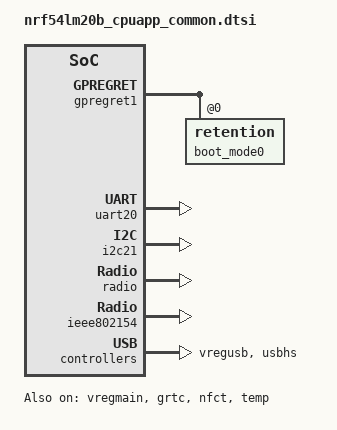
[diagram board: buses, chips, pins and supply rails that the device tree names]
/*
 * Copyright (c) 2026 Nordic Semiconductor ASA
 *
 * SPDX-License-Identifier: LicenseRef-Nordic-5-Clause
 */

/* This file is common to the secure and non-secure domain */

#include <nordic/nrf54lm20b_cpuapp.dtsi>
#include "nrf54lm20dongle_nrf54lm20b-common.dtsi"

/ {
	chosen {
		zephyr,flash-controller = &rram_controller;
		zephyr,flash = &cpuapp_rram;
		zephyr,ieee802154 = &ieee802154;
		zephyr,boot-mode = &boot_mode0;
		zephyr,console = &board_cdc_acm_uart;
		zephyr,shell-uart = &board_cdc_acm_uart;
		zephyr,uart-mcumgr = &mcumgr_cdc_acm_uart;
		zephyr,bt-mon-uart = &board_cdc_acm_uart;
		zephyr,bt-c2h-uart = &board_cdc_acm_uart;
	};

	aliases {
		mcuboot-button0 = &dfu_button;
		mcuboot-led0 = &led0_green;
	};
};

&cpuapp_sram {
	status = "okay";
};

&hfpll {
	clock-frequency = <DT_FREQ_M(128)>;
};

&lfxo {
	load-capacitors = "internal";
	load-capacitance-femtofarad = <17000>;
};

&hfxo {
	load-capacitors = "internal";
	load-capacitance-femtofarad = <15000>;
};

&vregmain {
	status = "okay";
	regulator-initial-mode = <NRF5X_REG_MODE_DCDC>;
};

&gpregret1 {
	status = "okay";

	boot_mode0: boot_mode@0 {
		compatible = "zephyr,retention";
		status = "okay";
		reg = <0x0 0x1>;
	};
};

&grtc {
	owned-channels = <0 1 2 3 4 5 6 7 8 9 10 11>;
	/* Channels 7-11 reserved for Zero Latency IRQs, 3-4 for FLPR */
	child-owned-channels = <3 4 7 8 9 10 11>;
	status = "okay";
};

&uart20 {
	status = "okay";
};

&i2c21 {
	status = "okay";
};

&nfct {
	status = "okay";
};

&gpio0 {
	status = "okay";
};

&gpio1 {
	status = "okay";
};

&gpio2 {
	status = "okay";
};

&gpiote20 {
	status = "okay";
};

&gpiote30 {
	status = "okay";
};

&radio {
	status = "okay";
};

&temp {
	status = "okay";
};

&clock {
	status = "okay";
};

&ieee802154 {
	status = "okay";
};

&vregusb {
	status = "okay";
};

zephyr_udc0: &usbhs {
	status = "okay";

	board_cdc_acm_uart: board_cdc_acm_uart {
		compatible = "zephyr,cdc-acm-uart";
	};

	mcumgr_cdc_acm_uart: mcumgr_cdc_acm_uart {
		compatible = "zephyr,cdc-acm-uart";
		label = "nRF54LM20 Dongle MCUmgr";
	};
};
